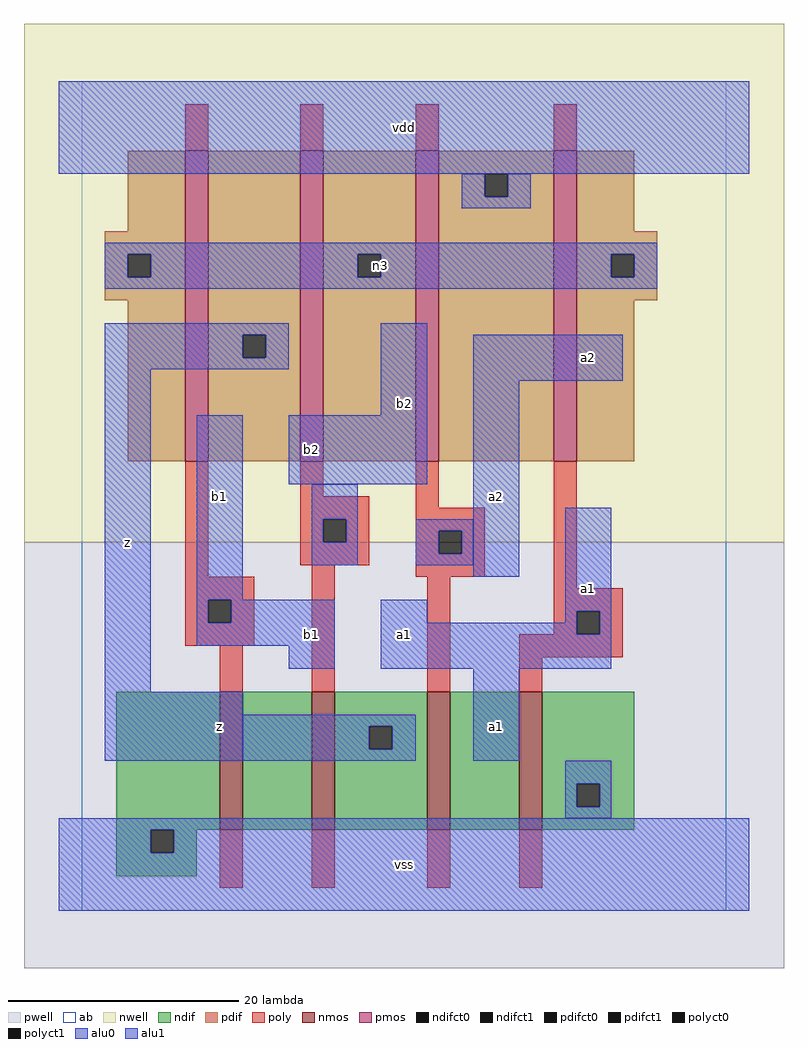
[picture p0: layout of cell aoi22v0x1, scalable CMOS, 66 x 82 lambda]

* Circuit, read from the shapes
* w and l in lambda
.subckt aoi22v0x1 a1 a2 b1 b2 n3 vdd vss z
M1 n1 b1 vss VSUBS nfet w=12 l=2
M2 z b2 n1 VSUBS nfet w=12 l=2
M3 n2 a2 z VSUBS nfet w=12 l=2
M4 vss a1 n2 VSUBS nfet w=12 l=2
M5 z b1 n3 n4 pfet w=27 l=2
M6 n3 b2 z n4 pfet w=27 l=2
M7 vdd a2 n3 n4 pfet w=27 l=2
M8 n3 a1 vdd n4 pfet w=27 l=2
.ends

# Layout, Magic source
magic
tech scmos
<< ab >>
rect 0 0 56 72
<< nwell >>
rect -5 32 61 77
<< pwell >>
rect -5 -5 61 32
<< poly >>
rect 9 66 11 70
rect 19 66 21 70
rect 29 66 31 70
rect 41 66 43 70
rect 9 29 11 39
rect 19 36 21 39
rect 19 34 25 36
rect 19 32 21 34
rect 23 32 25 34
rect 19 30 25 32
rect 29 35 31 39
rect 29 33 35 35
rect 29 31 31 33
rect 33 31 35 33
rect 9 27 15 29
rect 9 25 11 27
rect 13 25 15 27
rect 9 23 15 25
rect 12 19 14 23
rect 20 19 22 30
rect 29 29 35 31
rect 30 19 32 29
rect 41 28 43 39
rect 41 26 47 28
rect 41 24 43 26
rect 45 24 47 26
rect 38 22 47 24
rect 38 19 40 22
rect 12 2 14 7
rect 20 2 22 7
rect 30 2 32 7
rect 38 2 40 7
<< ndif >>
rect 3 7 12 19
rect 14 7 20 19
rect 22 16 30 19
rect 22 14 25 16
rect 27 14 30 16
rect 22 7 30 14
rect 32 7 38 19
rect 40 11 48 19
rect 40 9 43 11
rect 45 9 48 11
rect 40 7 48 9
rect 3 5 6 7
rect 8 5 10 7
rect 3 3 10 5
<< pdif >>
rect 4 59 9 66
rect 2 57 9 59
rect 2 55 4 57
rect 6 55 9 57
rect 2 53 9 55
rect 4 39 9 53
rect 11 50 19 66
rect 11 48 14 50
rect 16 48 19 50
rect 11 39 19 48
rect 21 57 29 66
rect 21 55 24 57
rect 26 55 29 57
rect 21 39 29 55
rect 31 64 41 66
rect 31 62 35 64
rect 37 62 41 64
rect 31 39 41 62
rect 43 59 48 66
rect 43 57 50 59
rect 43 55 46 57
rect 48 55 50 57
rect 43 53 50 55
rect 43 39 48 53
<< alu1 >>
rect -2 64 58 72
rect 2 50 18 51
rect 2 48 14 50
rect 16 48 18 50
rect 2 47 18 48
rect 2 19 6 47
rect 26 43 30 51
rect 10 27 14 43
rect 18 37 30 43
rect 34 46 47 50
rect 34 29 38 46
rect 10 25 11 27
rect 13 25 22 27
rect 10 23 22 25
rect 18 21 22 23
rect 26 25 30 27
rect 42 26 46 35
rect 42 25 43 26
rect 26 24 43 25
rect 45 24 46 26
rect 26 21 46 24
rect 2 13 14 19
rect 34 13 38 21
rect -2 7 58 8
rect -2 5 6 7
rect 8 5 58 7
rect -2 0 58 5
<< nmos >>
rect 12 7 14 19
rect 20 7 22 19
rect 30 7 32 19
rect 38 7 40 19
<< pmos >>
rect 9 39 11 66
rect 19 39 21 66
rect 29 39 31 66
rect 41 39 43 66
<< polyct0 >>
rect 21 32 23 34
rect 31 31 33 33
<< polyct1 >>
rect 11 25 13 27
rect 43 24 45 26
<< ndifct0 >>
rect 25 14 27 16
rect 43 9 45 11
<< ndifct1 >>
rect 6 5 8 7
<< pdifct0 >>
rect 4 55 6 57
rect 24 55 26 57
rect 35 62 37 64
rect 46 55 48 57
<< pdifct1 >>
rect 14 48 16 50
<< alu0 >>
rect 33 62 35 64
rect 37 62 39 64
rect 33 61 39 62
rect 2 57 50 58
rect 2 55 4 57
rect 6 55 24 57
rect 26 55 46 57
rect 48 55 50 57
rect 2 54 50 55
rect 20 34 24 37
rect 20 32 21 34
rect 23 32 24 34
rect 20 30 24 32
rect 29 33 34 34
rect 29 31 31 33
rect 33 31 34 33
rect 29 30 34 31
rect 14 16 29 17
rect 14 14 25 16
rect 27 14 29 16
rect 14 13 29 14
rect 42 11 46 13
rect 42 9 43 11
rect 45 9 46 11
rect 42 8 46 9
<< labels >>
rlabel alu0 26 56 26 56 6 n3
rlabel alu1 4 32 4 32 6 z
rlabel alu1 12 16 12 16 6 z
rlabel alu1 20 24 20 24 6 b1
rlabel alu1 20 40 20 40 6 b2
rlabel alu1 12 36 12 36 6 b1
rlabel alu1 28 4 28 4 6 vss
rlabel alu1 36 16 36 16 6 a1
rlabel alu1 28 24 28 24 6 a1
rlabel alu1 36 36 36 36 6 a2
rlabel alu1 28 44 28 44 6 b2
rlabel alu1 28 68 28 68 6 vdd
rlabel alu1 44 28 44 28 6 a1
rlabel alu1 44 48 44 48 6 a2
<< end >>
